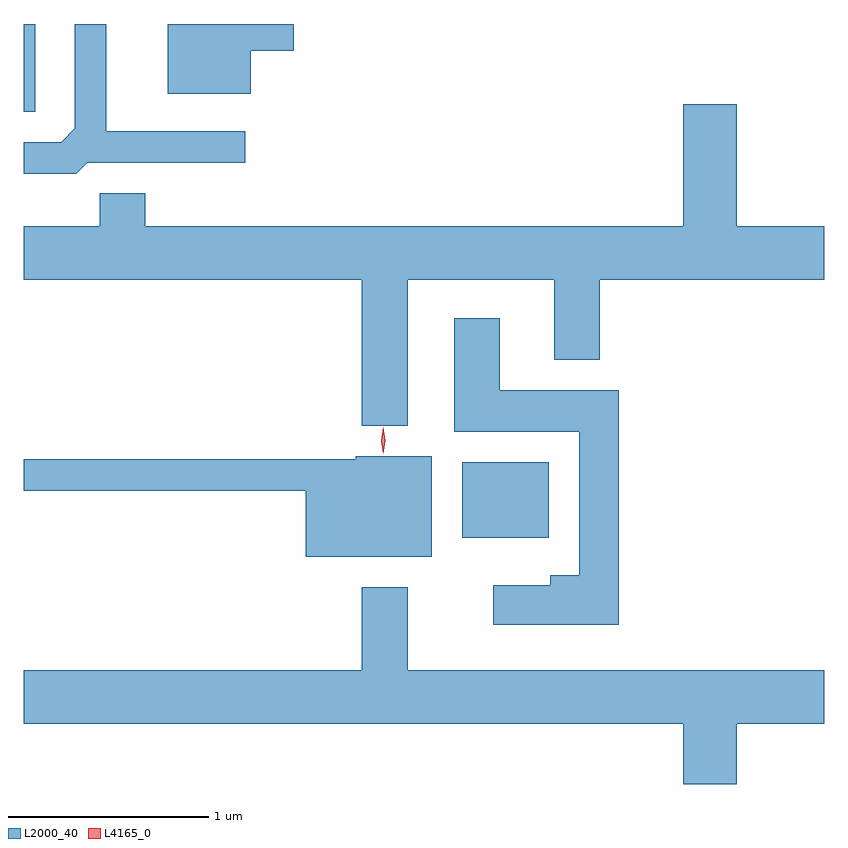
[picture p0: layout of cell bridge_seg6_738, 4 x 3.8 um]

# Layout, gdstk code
import gdstk
lib = gdstk.Library(unit=1e-6, precision=1e-09)
def R(c, l, rs):  # rectangles x0, y0, x1, y1
    for r in rs: c.add(gdstk.rectangle(r[:2], r[2:], *l))
def P(c, l, *ps):  # polygons
    for p in ps: c.add(gdstk.Polygon(p, *l))
L2000_40 = (2000, 40)
L4165_0 = (4165, 0)

bridge_seg6_738 = lib.new_cell('bridge_seg6_738')
R(bridge_seg6_738, L2000_40, [(433.751,1548.746,434.184,1549.124), (431.561,1550.876,431.619,1551.314)])
P(bridge_seg6_738, L2000_40, [(432.694,1551.181),(432.909,1551.181),(432.909,1551.314),(432.281,1551.314),(432.281,1550.966),(432.694,1550.966)],
  [(431.877,1550.621),(432.668,1550.621),(432.668,1550.779),(431.974,1550.779),(431.974,1551.314),(431.816,1551.314),(431.816,1550.792),(431.749,1550.724),(431.561,1550.724),(431.561,1550.566),(431.822,1550.566)],
  [(433.479,1550.036),(434.211,1550.036),(434.211,1549.636),(434.439,1549.636),(434.439,1550.036),(435.561,1550.036),(435.561,1550.304),(435.124,1550.304),(435.124,1550.914),(434.856,1550.914),(434.856,1550.304),(432.169,1550.304),(432.169,1550.469),(431.941,1550.469),(431.941,1550.304),(431.561,1550.304),(431.561,1550.036),(433.251,1550.036),(433.251,1549.306),(433.479,1549.306)],
  [(434.534,1549.484),(433.939,1549.484),(433.939,1549.844),(433.711,1549.844),(433.711,1549.276),(434.336,1549.276),(434.336,1548.559),(434.191,1548.559),(434.191,1548.509),(433.906,1548.509),(433.906,1548.311),(434.534,1548.311)],
  [(433.599,1549.154),(433.22,1549.154),(433.22,1549.139),(431.561,1549.139),(431.561,1548.981),(432.971,1548.981),(432.971,1548.651),(433.599,1548.651)],
  [(435.124,1547.816),(435.561,1547.816),(435.561,1548.084),(433.479,1548.084),(433.479,1548.499),(433.251,1548.499),(433.251,1548.084),(431.561,1548.084),(431.561,1547.816),(434.856,1547.816),(434.856,1547.516),(435.124,1547.516)])
P(bridge_seg6_738, L4165_0, [(433.357,1549.166),(433.357,1549.166),(433.347,1549.232),(433.357,1549.299),(433.357,1549.299),(433.358,1549.299),(433.367,1549.232),(433.358,1549.166)])

lib.write_gds('bridge_seg6_738.gds')
